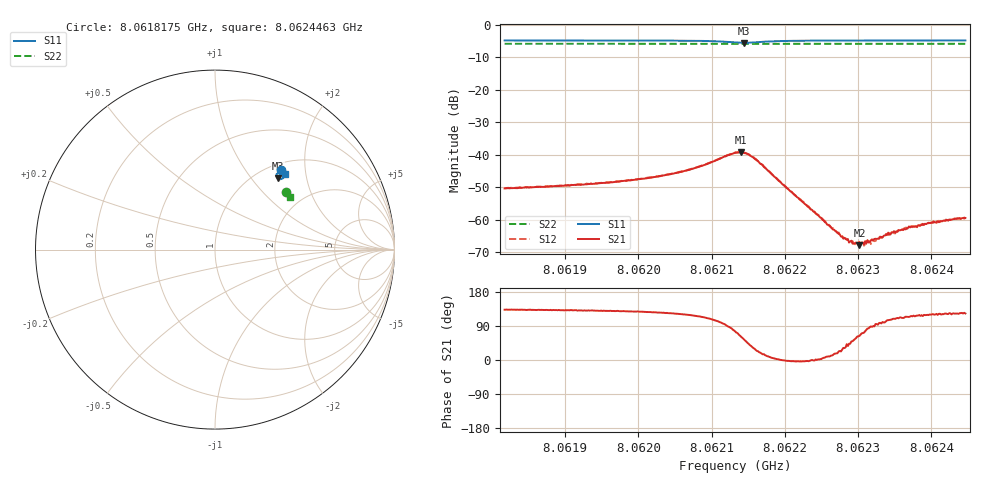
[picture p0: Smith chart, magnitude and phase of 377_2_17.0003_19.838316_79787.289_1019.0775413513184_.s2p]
#  HZ  S  RI  R  50.00
! Rohde & Schwarz Vector Network Analyzer
! Rohde-Schwarz,ZNB20-2Port,1311601062101988,3.16
! Created: UTC 3/20/2024, 11:08:59 PM
! freq[Hz]  re:S11  im:S11  re:S21  im:S21  re:S12  im:S12  re:S22  im:S22
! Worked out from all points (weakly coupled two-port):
!   401 points, 8.0618175 GHz to 8.0624463 GHz, reference 50 ohm
!   highest |S21| = -39.21 dB at 8.0621398 GHz (marker M1); lowest = -67.8 dB at 8.0623016 GHz (marker M2)
!   lowest |S11| = -5.5 dB at 8.0621445 GHz (marker M3), VSWR 3.25, Z = 61.9 + j68.4 ohm
!   |S11| at or under -10 dB: nowhere
!   |S22| runs from -5.9 to -5.8 dB; largest |S21 - S12| = 0.00093
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8.06181754e9  0.3654 0.4454  -0.00206 0.00223  -0.00195 0.00239  0.398 0.3228
8.06192285e9  0.3727 0.4391  -0.00228 0.00264  -0.00213 0.0028  0.4019 0.3175
8.06197315e9  0.3765 0.4352  -0.00243 0.00298  -0.00225 0.00321  0.404 0.3148
8.06202816e9  0.3811 0.4292  -0.00268 0.0038  -0.0025 0.004  0.4059 0.312
8.06207688e9  0.3852 0.4193  -0.00281 0.00554  -0.00254 0.00579  0.4077 0.3091
8.0621319e9  0.3663 0.3923  0.00262 0.0104  0.0033 0.0102  0.4085 0.3057
8.06213975e9  0.3555 0.3939  0.00513 0.00968  0.00566 0.00929  0.4082 0.3054
8.06214447e9  0.3495 0.3976  0.00628 0.00853  0.00703 0.00835  0.4082 0.3055
8.06215233e9  0.3433 0.4073  0.00757 0.00613  0.00794 0.00585  0.4083 0.3057
8.06216019e9  0.3426 0.4175  0.00754 0.00375  0.00792 0.00348  0.4086 0.3058
8.0622372e9  0.3721 0.4347  0.00141 -7.71e-07  0.00142 -0.000128  0.4127 0.3024
8.06227964e9  0.3788 0.4319  0.000434 0.000271  0.000485 0.000219  0.4146 0.3002
8.06228907e9  0.3799 0.4313  0.000338 0.000316  0.000347 0.000342  0.4149 0.2998
8.06229536e9  0.3805 0.4309  0.000247 0.000353  0.000275 0.000327  0.415 0.2994
8.06230165e9  0.3812 0.4304  0.000183 0.000366  0.000217 0.000402  0.4153 0.299
8.06230322e9  0.3814 0.4304  0.000166 0.000393  0.000159 0.00037  0.4154 0.2989
8.06230636e9  0.3817 0.4302  0.000142 0.000411  0.000179 0.000409  0.4155 0.2989
8.06232051e9  0.3831 0.4292  4.63e-06 0.000487  5.17e-05 0.000477  0.4159 0.298
8.06234251e9  0.3851 0.4278  -0.00016 0.000569  -0.000142 0.00059  0.4168 0.2969
8.06237238e9  0.3876 0.426  -0.000344 0.000698  -0.000307 0.000729  0.4179 0.2951
8.06240067e9  0.3896 0.4244  -0.000455 0.000771  -0.000402 0.000826  0.4189 0.2938
8.06244625e9  0.3926 0.4219  -0.000575 0.000894  -0.000542 0.000953  0.4204 0.2916
